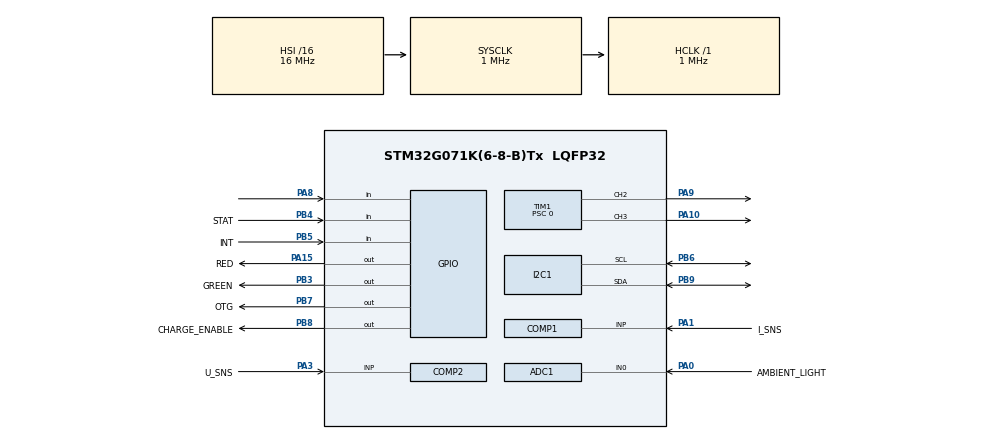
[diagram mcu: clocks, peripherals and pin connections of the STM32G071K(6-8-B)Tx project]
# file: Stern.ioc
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ADC1.Channel-3\#ChannelRegularConversion=ADC_CHANNEL_0
ADC1.ContinuousConvMode=ENABLE
ADC1.NbrOfConversionFlag=1
ADC1.Rank-3\#ChannelRegularConversion=1
ADC1.SamplingTime-3\#ChannelRegularConversion=ADC_SAMPLINGTIME_COMMON_1
ADC1.SelectedChannel=ADC_CHANNEL_0
ADC1.master=1
COMP1.Hysteresis=COMP_HYSTERESIS_NONE
COMP1.Mode=COMP_POWERMODE_HIGHSPEED
COMP2.Hysteresis=COMP_HYSTERESIS_NONE
COMP2.Mode=COMP_POWERMODE_HIGHSPEED
DAC1.DAC_Channel-DAC_OUT1_Int=DAC_CHANNEL_1
DAC1.DAC_Channel-DAC_OUT2_Int=DAC_CHANNEL_2
FREERTOS.Tasks01=defaultTask,0,128,StartDefaultTask,Default,NULL,Dynamic,NULL,NULL;batteryTask,-2,128,StartBatteryTask,Default,NULL,Dynamic,NULL,NULL;CyclerTask,-2,128,StartCyclerTask,Default,NULL,Dynamic,NULL,NULL;LuxTask,-2,128,StartLuxTask,Default,NULL,Dynamic,NULL,NULL
FREERTOS.configTOTAL_HEAP_SIZE=10000
FREERTOS.configUSE_NEWLIB_REENTRANT=1
I2C1.Timing=0x00000103
Mcu.Family=STM32G0
Mcu.Name=STM32G071K(6-8-B)Tx
Mcu.Package=LQFP32
NVIC.TIM6_DAC_LPTIM1_IRQn=true\:3\:0\:false\:false\:true\:false\:false\:true\:true
NVIC.TimeBase=TIM6_DAC_LPTIM1_IRQn
NVIC.TimeBaseIP=TIM6
PA0.GPIO_Label=AMBIENT_LIGHT
PA0.Mode=IN0
PA0.Signal=ADC1_IN0
PA1.GPIO_Label=I_SNS
PA1.Mode=INP
PA1.Signal=COMP1_INP
PA10.GPIO_FMPA10=SYSCFG_FASTMODEPLUS_PA10
PA10.GPIO_Speed=GPIO_SPEED_FREQ_VERY_HIGH
PA10.Signal=S_TIM1_CH3
PA13.Mode=Serial_Wire
PA13.Signal=SYS_SWDIO
PA14-BOOT0.Mode=Serial_Wire
PA14-BOOT0.Signal=SYS_SWCLK
PA15.GPIO_Label=RED
PA15.Signal=GPIO_Output
PA3.GPIO_Label=U_SNS
PA3.Mode=INP
PA3.Signal=COMP2_INP
PA8.Signal=GPIO_Input
PA9.GPIO_FMPA9=SYSCFG_FASTMODEPLUS_PA9
PA9.GPIO_Speed=GPIO_SPEED_FREQ_VERY_HIGH
PA9.Signal=S_TIM1_CH2
PB3.GPIO_Label=GREEN
PB3.Signal=GPIO_Output
PB4.GPIO_Label=STAT
PB4.Signal=GPIO_Input
PB5.GPIO_Label=INT
PB5.Signal=GPIO_Input
PB6.Mode=I2C
PB6.Signal=I2C1_SCL
PB7.GPIO_Label=OTG
PB7.Signal=GPIO_Output
PB8.GPIO_Label=CHARGE_ENABLE
PB8.PinState=GPIO_PIN_RESET
PB8.Signal=GPIO_Output
PB9.Mode=I2C
PB9.Signal=I2C1_SDA
ProjectManager.HeapSize=0x200
ProjectManager.StackSize=0x400
ProjectManager.TargetToolchain=STM32CubeIDE
RCC.ADCFreq_Value=1000000
RCC.AHBFreq_Value=1000000
RCC.CortexFreq_Value=1000000
RCC.EXTERNAL_CLOCK_VALUE=48000
RCC.HCLKFreq_Value=1000000
RCC.HSE_VALUE=8000000
RCC.HSISYSCLKDivider=RCC_HSI_DIV16
RCC.HSI_VALUE=16000000
RCC.LSE_VALUE=32768
RCC.PLLQ=RCC_PLLQ_DIV4
RCC.SYSCLKFreq_VALUE=1000000
RCC.VCOOutputFreq_Value=128000000
SH.S_TIM1_CH2.0=TIM1_CH2,PWM Generation2 CH2
SH.S_TIM1_CH3.0=TIM1_CH3,PWM Generation3 CH3
TIM1.AutoReloadPreload=TIM_AUTORELOAD_PRELOAD_ENABLE
TIM1.AutomaticOutput=TIM_AUTOMATICOUTPUT_ENABLE
TIM1.Break2State=TIM_BREAK2_DISABLE
TIM1.BreakFilter=1
TIM1.BreakState=TIM_BREAK_ENABLE
TIM1.Channel-PWM\ Generation2\ CH2=TIM_CHANNEL_2
TIM1.Channel-PWM\ Generation3\ CH3=TIM_CHANNEL_3
TIM1.OffStateIDLEMode=TIM_OSSI_ENABLE
TIM1.OffStateRunMode=TIM_OSSR_ENABLE
TIM1.Period=9
TIM1.Prescaler=0
TIM1.SourceBRKCOMP1=TIM_BREAKINPUTSOURCE_ENABLE
TIM1.SourceBRKCOMP2=TIM_BREAKINPUTSOURCE_ENABLE
VP_COMP1_VS_DACOUT1.Mode=INM_DACOUT1
VP_COMP2_VS_DACOUT2.Mode=INM_DACOUT2
VP_DAC1_VS_DACI1.Mode=DAC_OUT1_Int
VP_DAC1_VS_DACI2.Mode=DAC_OUT2_Int
VP_FREERTOS_VS_CMSIS_V1.Mode=CMSIS_V1
VP_SYS_VS_tim6.Mode=TIM6
VP_TIM1_VS_ClockSourceINT.Mode=Internal
VP_TIM2_VS_ClockSourceINT.Mode=Internal
board=custom

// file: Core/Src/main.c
/* USER CODE BEGIN Header */
/**
  ******************************************************************************
  * @file           : main.c
  * @brief          : Main program body
  ******************************************************************************
  * @attention
  *
  * Copyright (c) 2024 STMicroelectronics.
  * All rights reserved.
  *
  * This software is licensed under terms that can be found in the LICENSE file
  * in the root directory of this software component.
  * If no LICENSE file comes with this software, it is provided AS-IS.
  *
  ******************************************************************************
  */
/* USER CODE END Header */
#include "main.h"
#include "cmsis_os.h"
#include "adc.h"
#include "comp.h"
#include "dac.h"
#include "i2c.h"
#include "tim.h"
#include "gpio.h"

void SystemClock_Config(void);
void MX_FREERTOS_Init(void);

int main(void)
{

  /* MCU Configuration--------------------------------------------------------*/

  /* Reset of all peripherals, Initializes the Flash interface and the Systick. */
  HAL_Init();

  /* Configure the system clock */
  SystemClock_Config();

  /* Initialize all configured peripherals */
  MX_GPIO_Init();
  MX_I2C1_Init();
  MX_TIM1_Init();
  MX_ADC1_Init();
  MX_COMP1_Init();
  MX_COMP2_Init();
  MX_DAC1_Init();
  MX_TIM2_Init();

  /* Call init function for freertos objects (in cmsis_os2.c) */
  MX_FREERTOS_Init();

  /* Start scheduler */
  osKernelStart();

  /* We should never get here as control is now taken by the scheduler */

  /* Infinite loop */
  while (1)
  {

  }
}

void SystemClock_Config(void)
{
  RCC_OscInitTypeDef RCC_OscInitStruct = {0};
  RCC_ClkInitTypeDef RCC_ClkInitStruct = {0};

  /** Configure the main internal regulator output voltage
  */
  HAL_PWREx_ControlVoltageScaling(PWR_REGULATOR_VOLTAGE_SCALE1);

  /** Initializes the RCC Oscillators according to the specified parameters
  * in the RCC_OscInitTypeDef structure.
  */
  RCC_OscInitStruct.OscillatorType = RCC_OSCILLATORTYPE_HSI;
  RCC_OscInitStruct.HSIState = RCC_HSI_ON;
  RCC_OscInitStruct.HSIDiv = RCC_HSI_DIV16;
  RCC_OscInitStruct.HSICalibrationValue = RCC_HSICALIBRATION_DEFAULT;
  RCC_OscInitStruct.PLL.PLLState = RCC_PLL_NONE;
  if (HAL_RCC_OscConfig(&RCC_OscInitStruct) != HAL_OK)
  {
    Error_Handler();
  }

  /** Initializes the CPU, AHB and APB buses clocks
  */
  RCC_ClkInitStruct.ClockType = RCC_CLOCKTYPE_HCLK|RCC_CLOCKTYPE_SYSCLK
                              |RCC_CLOCKTYPE_PCLK1;
  RCC_ClkInitStruct.SYSCLKSource = RCC_SYSCLKSOURCE_HSI;
  RCC_ClkInitStruct.AHBCLKDivider = RCC_SYSCLK_DIV1;
  RCC_ClkInitStruct.APB1CLKDivider = RCC_HCLK_DIV1;

  if (HAL_RCC_ClockConfig(&RCC_ClkInitStruct, FLASH_LATENCY_0) != HAL_OK)
  {
    Error_Handler();
  }
}

void HAL_TIM_PeriodElapsedCallback(TIM_HandleTypeDef *htim)
{
  if (htim->Instance == TIM6) {
    HAL_IncTick();
  }
}

void Error_Handler(void)
{
  __disable_irq();
  while (1)
  {
  }
}

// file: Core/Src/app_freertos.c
/* USER CODE BEGIN Header */
/**
  ******************************************************************************
  * File Name          : app_freertos.c
  * Description        : Code for freertos applications
  ******************************************************************************
  * @attention
  *
  * Copyright (c) 2024 STMicroelectronics.
  * All rights reserved.
  *
  * This software is licensed under terms that can be found in the LICENSE file
  * in the root directory of this software component.
  * If no LICENSE file comes with this software, it is provided AS-IS.
  *
  ******************************************************************************
  */
/* USER CODE END Header */

#include "FreeRTOS.h"
#include "task.h"
#include "main.h"
#include "cmsis_os.h"

/* USER CODE BEGIN Includes */
#include "dac.h"
#include "tim.h"
#include "comp.h"
#include "i2c.h"
#include "adc.h"
#include "math.h"

/* USER CODE END Includes */

/* USER CODE BEGIN PD */
#define STAR_VOLTAGE_V 12
#define STAR_CURRENT_A 0.1
#define STAR_ON_TIME_H 5
#define STAR_TURN_ON_THRESHOLD_LUX 100
#define STAR_MINIMUM_DAY_BRIGHTNESS_LUX 500
/* USER CODE END PD */

/* USER CODE BEGIN Variables */
enum Charging_Status
		{
			notCharge = 0,
			preCharge = 1,
			fastCharge = 2,
			terminatedCharge = 3
		};
enum Charging_Status ChargingStatus = notCharge;

uint8_t request_poweroff = 0;

float brightness_lux = 0;
/* USER CODE END Variables */
osThreadId defaultTaskHandle;
osThreadId batteryTaskHandle;
osThreadId CyclerTaskHandle;
osThreadId LuxTaskHandle;

void StartDefaultTask(void const * argument);
void StartBatteryTask(void const * argument);
void StartCyclerTask(void const * argument);
void StartLuxTask(void const * argument);

void MX_FREERTOS_Init(void); /* (MISRA C 2004 rule 8.1) */

void MX_FREERTOS_Init(void) {

  /* Create the thread(s) */
  /* definition and creation of defaultTask */
  osThreadDef(defaultTask, StartDefaultTask, osPriorityNormal, 0, 128);
  defaultTaskHandle = osThreadCreate(osThread(defaultTask), NULL);

  /* definition and creation of batteryTask */
  osThreadDef(batteryTask, StartBatteryTask, osPriorityLow, 0, 128);
  batteryTaskHandle = osThreadCreate(osThread(batteryTask), NULL);

  /* definition and creation of CyclerTask */
  osThreadDef(CyclerTask, StartCyclerTask, osPriorityLow, 0, 128);
  CyclerTaskHandle = osThreadCreate(osThread(CyclerTask), NULL);

  /* definition and creation of LuxTask */
  osThreadDef(LuxTask, StartLuxTask, osPriorityLow, 0, 128);
  LuxTaskHandle = osThreadCreate(osThread(LuxTask), NULL);

}

void StartDefaultTask(void const * argument)
{
  /* USER CODE BEGIN StartDefaultTask */
	HAL_DAC_Start(&hdac1, DAC_CHANNEL_2);
	HAL_DAC_SetValue(&hdac1, DAC_CHANNEL_2, DAC_ALIGN_12B_R, 0*312); //Spannung einstellen
	HAL_DAC_SetValue(&hdac1, DAC_CHANNEL_1, DAC_ALIGN_12B_R, 0*625); //Strom einstellen
	HAL_DAC_Start(&hdac1, DAC_CHANNEL_1);

	HAL_COMP_Start(&hcomp1);
	HAL_COMP_Start(&hcomp2);
	HAL_TIM_PWM_Start(&htim1, HAL_TIM_ACTIVE_CHANNEL_2);
	HAL_TIM_PWM_Start(&htim1, HAL_TIM_ACTIVE_CHANNEL_3);
	__HAL_TIM_SET_COMPARE(&htim1,HAL_TIM_ACTIVE_CHANNEL_2,6);
	__HAL_TIM_SET_COMPARE(&htim1,HAL_TIM_ACTIVE_CHANNEL_3,6);

	HAL_GPIO_TogglePin(GREEN_GPIO_Port, GREEN_Pin);
	//osDelay(200);

	/* Infinite loop */
	for(;;)
	{
		osDelay(2000);
	}
  /* USER CODE END StartDefaultTask */
}

void StartBatteryTask(void const * argument)
{
  /* USER CODE BEGIN StartBatteryTask */
	uint8_t deviceAddress = 0x6A << 1;  // Shift for 7-bit address
	uint8_t regAddr = 0x00;
	uint8_t readData[0x15] = {0};
	HAL_StatusTypeDef status;
	uint8_t writeData;
	uint8_t lowBattery = 0;

	HAL_GPIO_WritePin(CHARGE_ENABLE_GPIO_Port, CHARGE_ENABLE_Pin, GPIO_PIN_SET);

	writeData = 0b00111111; // disable ILIM pin, set max current to 3.25A
	status = HAL_I2C_Mem_Write(&hi2c1, deviceAddress, 0x00, I2C_MEMADD_SIZE_8BIT, &writeData, 1, HAL_MAX_DELAY);
	if (status == HAL_OK)
	{

	}

	writeData = 0b11100000; //Start ADC_conversion
	status = HAL_I2C_Mem_Write(&hi2c1, deviceAddress, 0x02, I2C_MEMADD_SIZE_8BIT, &writeData, 1, HAL_MAX_DELAY);
	if (status == HAL_OK)
	{

	}

	writeData = 0b00011010; //otg disable
	status = HAL_I2C_Mem_Write(&hi2c1, deviceAddress, 0x03, I2C_MEMADD_SIZE_8BIT, &writeData, 1, HAL_MAX_DELAY);
	if (status == HAL_OK)
	{

	}

	writeData = 0b01001111; //fast charge current 5A
	status = HAL_I2C_Mem_Write(&hi2c1, deviceAddress, 0x04, I2C_MEMADD_SIZE_8BIT, &writeData, 1, HAL_MAX_DELAY);
	if (status == HAL_OK)
	{

	}

	writeData = 0b10001101; //disable watchdog
	status = HAL_I2C_Mem_Write(&hi2c1, deviceAddress, 0x07, I2C_MEMADD_SIZE_8BIT, &writeData, 1, HAL_MAX_DELAY);
	if (status == HAL_OK)
	{

	}

	writeData = 0b10010011; //40mOhm IR compensation
	status = HAL_I2C_Mem_Write(&hi2c1, deviceAddress, 0x08, I2C_MEMADD_SIZE_8BIT, &writeData, 1, HAL_MAX_DELAY);
	if (status == HAL_OK)
	{

	}

	HAL_GPIO_WritePin(CHARGE_ENABLE_GPIO_Port, CHARGE_ENABLE_Pin, GPIO_PIN_RESET);

	for(;;)
	{

		if(request_poweroff)
		{
			request_poweroff = 0;
			writeData = 0b01100100;  //force batfet off without delay
			HAL_I2C_Mem_Write(&hi2c1, deviceAddress, 0x09, I2C_MEMADD_SIZE_8BIT, &writeData, 1, HAL_MAX_DELAY);
		}

		status = HAL_I2C_Mem_Read(&hi2c1, deviceAddress, regAddr, I2C_MEMADD_SIZE_8BIT, readData, 0x15, HAL_MAX_DELAY);

   	  	ChargingStatus = (readData[0x0B] & 0b00011000) >> 3;

		switch(ChargingStatus)
		{
		case notCharge:
			HAL_GPIO_WritePin(GREEN_GPIO_Port, GREEN_Pin, GPIO_PIN_RESET); 	//LED aus
			break;
		case preCharge:
			HAL_GPIO_TogglePin(GREEN_GPIO_Port, GREEN_Pin);					//grün blinken
			break;
		case fastCharge:
			HAL_GPIO_TogglePin(GREEN_GPIO_Port, GREEN_Pin);					//grün blinken
			break;
		case terminatedCharge:
			HAL_GPIO_WritePin(GREEN_GPIO_Port, GREEN_Pin, GPIO_PIN_SET);	//LED ein
			break;
		default:
			break;
		}
		//uint16_t VBUS_mV = 2600 + (readData[0x11]&0b01111111)*100;
		//uint16_t ChargingCurrent_mA = readData[0x12]*50;
		uint16_t BatteryVoltage_mV = ((readData[0x0E]& 0b01111111)*20)+2304;
		if(BatteryVoltage_mV > 3700)
		{
			lowBattery = 0;

		}
		else if(BatteryVoltage_mV < 3500)
		{
			lowBattery = 1;

		}

		if(lowBattery)
		{
			HAL_GPIO_TogglePin(RED_GPIO_Port, RED_Pin); 				//rot blinken
			HAL_DAC_SetValue(&hdac1, DAC_CHANNEL_1, DAC_ALIGN_12B_R, (STAR_CURRENT_A/4)*625);
		}
		else
		{
			HAL_DAC_SetValue(&hdac1, DAC_CHANNEL_1, DAC_ALIGN_12B_R, STAR_CURRENT_A*625); //Strom einstellen
			HAL_GPIO_WritePin(RED_GPIO_Port, RED_Pin, GPIO_PIN_RESET); 	//LED aus
		}

		osDelay(500);
	}

  /* USER CODE END StartBatteryTask */
}

void StartCyclerTask(void const * argument)
{
  /* USER CODE BEGIN StartCyclerTask */
	HAL_ADC_ConfigChannel(&hadc1, ADC_CHANNEL_0_NUMBER);
	HAL_ADC_Start(&hadc1);
	float voltage = 0;

	for(; voltage < STAR_VOLTAGE_V; voltage +=0.05) //test Star on startup
	{
		HAL_DAC_SetValue(&hdac1, DAC_CHANNEL_2, DAC_ALIGN_12B_R, voltage*312);
		osDelay(10);
	}
	for(; voltage > 0.05; voltage -=0.05)
	{
		HAL_DAC_SetValue(&hdac1, DAC_CHANNEL_2, DAC_ALIGN_12B_R, voltage*312);
		osDelay(10);
	}

	/* Infinite loop */
	for(;;)
	{
		enum Status
		{
			ON,
			TURN_OFF,
			OFF_NIGHT,
			OFF_DAY
		};
		static enum Status status = ON;
		static float voltage_V = 0;
		static uint32_t ontime_ms  = 0;
		static uint32_t offtime_ms = 0;

		switch(status)
		{
			case ON:
			{
				if(voltage_V < STAR_VOLTAGE_V)
				{
					voltage_V+= 0.02;
					HAL_DAC_SetValue(&hdac1, DAC_CHANNEL_2, DAC_ALIGN_12B_R, (uint32_t)(voltage_V*312));
				}
				ontime_ms+=10;
				offtime_ms = 0;

				//next state logic
				//--------------------------
				if(ontime_ms >= (STAR_ON_TIME_H*60*60*1000))
				{
					status = TURN_OFF;
				}
				if(brightness_lux > STAR_MINIMUM_DAY_BRIGHTNESS_LUX)
				{
					status = TURN_OFF;
				}

				break;
			}
			case TURN_OFF:
			{
				if(voltage_V >= 0.02)
				{
					voltage_V-= 0.02;
					HAL_DAC_SetValue(&hdac1, DAC_CHANNEL_2, DAC_ALIGN_12B_R, (uint32_t)(voltage_V*312));
				}
				else
				{
					//next state logic
					//--------------------------
					status = OFF_NIGHT;

				}

				break;
			}
			case OFF_NIGHT:
			{
				//next state logic
				//--------------------------
				if(brightness_lux > STAR_MINIMUM_DAY_BRIGHTNESS_LUX)
				{
					status = OFF_DAY;
				}
				break;
			}
			case OFF_DAY:
			{

				//next state logic
				//--------------------------
				if(brightness_lux < STAR_TURN_ON_THRESHOLD_LUX)
				{
					ontime_ms  = 0;
					status = ON;
				}
				break;
			}
		}
		static enum Charging_Status lastChargingStatus;
		if((ChargingStatus != notCharge) && (lastChargingStatus == notCharge)) //eingesteckt zum laden
		{
			status = TURN_OFF;
		}
		if((ChargingStatus == notCharge) && (lastChargingStatus != notCharge)) //ausgesteckt vom Laden
		{
			status = OFF_DAY;
		}
		lastChargingStatus = ChargingStatus;

		offtime_ms+=10;
		if(offtime_ms >= 1000*60*60*24*5)
		{
			offtime_ms = 0;
			request_poweroff = 1;
		}
		osDelay(10);

	}
  /* USER CODE END StartCyclerTask */
}

/* USER CODE BEGIN Header_StartLuxTask */
/**
* @brief Measures brightenss and calculates a moving average of the brightness over a minute.
* @param argument: Not used
* @retval None
*/
/* USER CODE END Header_StartLuxTask */
void StartLuxTask(void const * argument)
{
  /* USER CODE BEGIN StartLuxTask */
	/* Infinite loop */
	HAL_ADC_GetValue(&hadc1);
	for(;;)
	{
		osDelay(1000);
		static int second = 0;
		const float gamma = 0.6;  //gamma value of ldr aout of datasheet
		const float r_10 = 14000; //ldr resistance at L0
		const float r15 = 10000; //pull up resistor used in circuit
		const float vref = 3.3; //reference voltage
		const float L_0 = 10;
		float currentBrightness_lux = 0;
		static float brightnessValues_lux[60] = {0.00};

		float voltage = HAL_ADC_GetValue(&hadc1)*vref/(float)(1<<12);
		if(vref - voltage > 0.005) //avoid division by zero
		{
			float r_ldr = r15 * (voltage / (vref - voltage));
			currentBrightness_lux = L_0 * pow(r_ldr/r_10,-1.0/gamma);
		}
		brightnessValues_lux[second] = currentBrightness_lux;
		second++;
		if(second >=60)
		{
			second = 0;
		}
		float brightnessSum_lux = 0;
		for(int i = 0; i < 60; i++)
		{
			brightnessSum_lux += brightnessValues_lux[i];
		}
		brightness_lux = brightnessSum_lux/60;

	}
  /* USER CODE END StartLuxTask */
}
